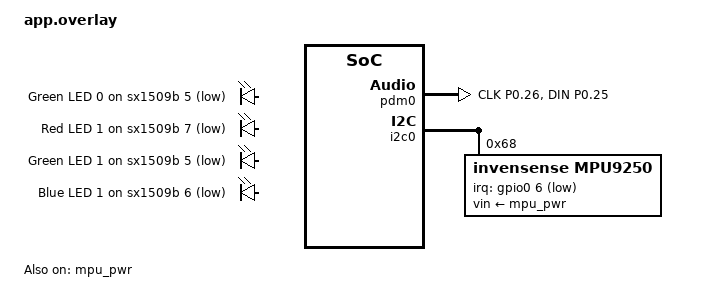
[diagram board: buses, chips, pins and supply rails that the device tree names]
&pinctrl {
	pdm0_default_alt: pdm0_default_alt {
		group1 {
			psels = <NRF_PSEL(PDM_CLK, 0, 26)>,
				<NRF_PSEL(PDM_DIN, 0, 25)>;
		};
	};
};

dmic_dev: &pdm0 {
	status = "okay";
	pinctrl-0 = <&pdm0_default_alt>;
	pinctrl-names = "default";
	clock-source = "PCLK32M_HFXO";
};

&mpu_pwr {
    status = "okay";
	regulator-always-on;
};


&i2c0 {
	mpu9250: mpu9250@68 {
		compatible = "invensense,mpu9250";
		reg = <0x68>;
		status = "okay";
		vin-supply = <&mpu_pwr>;
		irq-gpios = <&gpio0 6 GPIO_ACTIVE_LOW>;
		gyro-sr-div = <10>;
		gyro-dlpf = <92>;
		gyro-fs = <2000>;
		accel-fs = <2>;
		accel-dlpf="5.05";
	};
};

/ {
	gpioled0 {
		compatible = "gpio-leds";
		status = "okay";
		label = "LED System State";

		led0_g: led_0 {
			gpios = <&sx1509b 5 GPIO_ACTIVE_LOW>;
			label = "Green LED 0";
		};
	};

	gpioled1 {
		compatible = "gpio-leds";
		status = "okay";
		label = "LED Peer State";
		led1_r: led_0 {
			gpios = <&sx1509b 7 GPIO_ACTIVE_LOW>;
			label = "Red LED 1";
		};
		
		led1_g: led_1 {
			gpios = <&sx1509b 5 GPIO_ACTIVE_LOW>;
			label = "Green LED 1";
		};

		led1_b: led_2 {
			gpios = <&sx1509b 6 GPIO_ACTIVE_LOW>;
			label = "Blue LED 1";
		};
	};
	leds {
		status = "disabled";
	};
};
